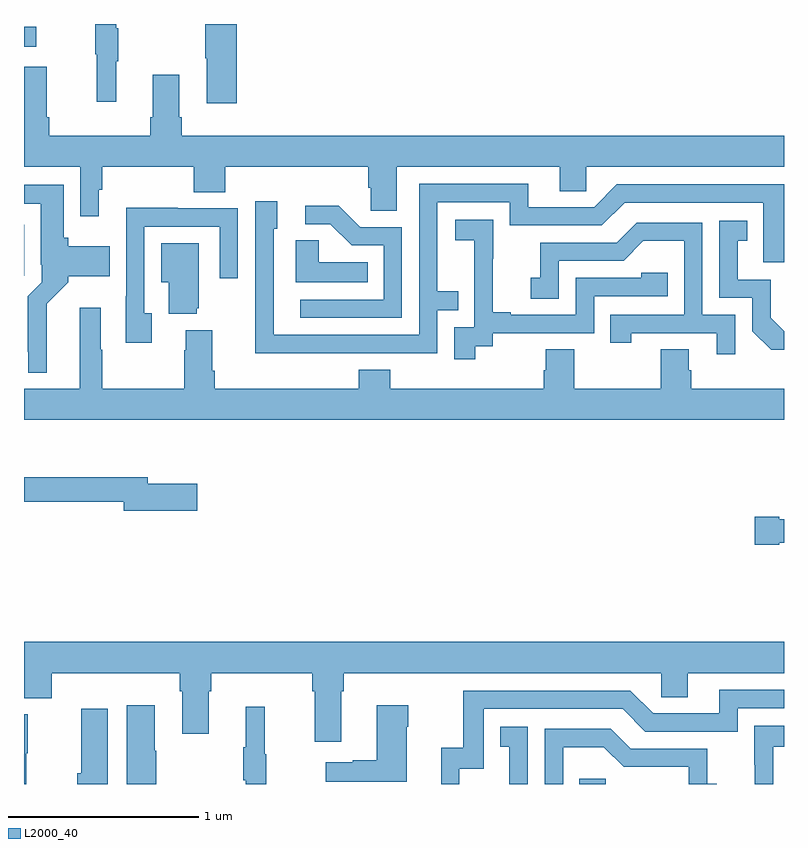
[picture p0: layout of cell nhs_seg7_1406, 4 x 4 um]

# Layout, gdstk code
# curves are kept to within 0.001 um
import gdstk
lib = gdstk.Library(unit=1e-6, precision=1e-09)
def R(c, l, rs):  # rectangles x0, y0, x1, y1
    for r in rs: c.add(gdstk.rectangle(r[:2], r[2:], *l))
def P(c, l, *ps):  # polygons
    for p in ps: c.add(gdstk.Polygon(p, *l))
L2000_40 = (2000, 40)

nhs_seg7_1406 = lib.new_cell('nhs_seg7_1406')
R(nhs_seg7_1406, L2000_40, [(209.923,1032,210.063,1032.027), (207,1034.676,207.001,1034.943), (207,1035.881,207.064,1035.985)])
P(nhs_seg7_1406, L2000_40, [(207.485,1035.803),(207.496,1035.803),(207.496,1035.977),(207.485,1035.977),(207.485,1036),(207.375,1036),(207.375,1035.84),(207.382,1035.84),(207.382,1035.591),(207.485,1035.591)],
  [(208.121,1036),(207.955,1036),(207.955,1035.82),(207.962,1035.82),(207.962,1035.582),(208.121,1035.582)],
  [(207.394,1035.127),(207.413,1035.127),(207.413,1035.248),(207.893,1035.248),(207.893,1035.115),(208.058,1035.115),(208.058,1035.248),(208.811,1035.248),(208.811,1035.139),(208.824,1035.139),(208.824,1035.016),(208.963,1035.016),(208.963,1035.248),(209.819,1035.248),(209.819,1035.121),(209.958,1035.121),(209.958,1035.248),(211,1035.248),(211,1035.412),(207.83,1035.412),(207.83,1035.508),(207.817,1035.508),(207.817,1035.733),(207.677,1035.733),(207.677,1035.508),(207.665,1035.508),(207.665,1035.412),(207.134,1035.412),(207.134,1035.508),(207.121,1035.508),(207.121,1035.775),(207,1035.775),(207,1035.248),(207.297,1035.248),(207.297,1034.988),(207.394,1034.988)],
  [(208.679,1034.268),(209.175,1034.268),(209.175,1034.493),(209.285,1034.493),(209.285,1034.594),(209.175,1034.594),(209.175,1035.063),(209.556,1035.063),(209.556,1034.94),(210.042,1034.94),(210.162,1035.06),(210.891,1035.06),(210.891,1034.745),(211,1034.745),(211,1035.156),(210.12,1035.156),(210,1035.036),(209.653,1035.036),(209.653,1035.159),(209.079,1035.159),(209.079,1034.364),(208.314,1034.364),(208.314,1034.922),(208.333,1034.922),(208.333,1035.067),(208.218,1035.067),(208.218,1034.573),(208.216,1034.573),(208.216,1034.267)],
  [(207.121,1034.528),(207.234,1034.641),(207.234,1034.672),(207.451,1034.672),(207.451,1034.83),(207.234,1034.83),(207.234,1034.874),(207.208,1034.874),(207.208,1035.154),(207,1035.154),(207,1035.053),(207.089,1035.053),(207.089,1034.734),(207.093,1034.734),(207.093,1034.64),(207.019,1034.566),(207.019,1034.275),(207.023,1034.275),(207.023,1034.165),(207.121,1034.165)],
  [(208.989,1034.931),(208.77,1034.931),(208.657,1035.044),(208.479,1035.044),(208.479,1034.946),(208.613,1034.946),(208.724,1034.835),(208.893,1034.835),(208.893,1034.55),(208.455,1034.55),(208.455,1034.454),(208.989,1034.454)],
  [(207.673,1034.478),(207.633,1034.478),(207.633,1034.934),(208.029,1034.934),(208.029,1034.661),(208.125,1034.661),(208.125,1035.03),(207.809,1035.03),(207.809,1035.032),(207.537,1035.032),(207.537,1034.566),(207.536,1034.566),(207.536,1034.322),(207.673,1034.322)],
  [(209.374,1034.305),(209.466,1034.305),(209.466,1034.373),(210,1034.373),(210,1034.568),(210.389,1034.568),(210.389,1034.691),(210.249,1034.691),(210.249,1034.664),(209.904,1034.664),(209.904,1034.469),(209.563,1034.469),(209.563,1034.482),(209.468,1034.482),(209.468,1034.765),(209.469,1034.765),(209.469,1034.971),(209.271,1034.971),(209.271,1034.861),(209.369,1034.861),(209.369,1034.632),(209.37,1034.632),(209.37,1034.403),(209.265,1034.403),(209.265,1034.235),(209.374,1034.235)],
  [(211,1034.384),(210.93,1034.454),(210.93,1034.655),(210.757,1034.655),(210.757,1034.859),(210.806,1034.859),(210.806,1034.965),(210.66,1034.965),(210.66,1034.559),(210.834,1034.559),(210.834,1034.382),(210.932,1034.285),(211,1034.285)],
  [(210.744,1034.469),(210.57,1034.469),(210.57,1034.955),(210.224,1034.955),(210.119,1034.85),(209.716,1034.85),(209.716,1034.665),(209.667,1034.665),(209.667,1034.555),(209.814,1034.555),(209.814,1034.754),(210.156,1034.754),(210.26,1034.858),(210.474,1034.858),(210.474,1034.469),(210.085,1034.469),(210.085,1034.322),(210.196,1034.322),(210.196,1034.373),(210.647,1034.373),(210.647,1034.262),(210.744,1034.262)],
  [(208.808,1034.746),(208.551,1034.746),(208.551,1034.861),(208.43,1034.861),(208.43,1034.642),(208.808,1034.642)],
  [(207.908,1034.505),(207.919,1034.505),(207.919,1034.845),(207.722,1034.845),(207.722,1034.642),(207.761,1034.642),(207.761,1034.474),(207.908,1034.474)],
  [(211,1034.08),(210.512,1034.08),(210.512,1034.178),(210.499,1034.178),(210.499,1034.288),(210.352,1034.288),(210.352,1034.08),(209.895,1034.08),(209.895,1034.288),(209.747,1034.288),(209.747,1034.178),(209.735,1034.178),(209.735,1034.08),(208.928,1034.08),(208.928,1034.179),(208.763,1034.179),(208.763,1034.08),(208.004,1034.08),(208.004,1034.176),(207.991,1034.176),(207.991,1034.389),(207.851,1034.389),(207.851,1034.282),(207.844,1034.282),(207.844,1034.08),(207.411,1034.08),(207.411,1034.285),(207.403,1034.285),(207.403,1034.506),(207.293,1034.506),(207.293,1034.08),(207,1034.08),(207,1033.916),(211,1033.916)],
  [(207.913,1033.581),(207.652,1033.581),(207.652,1033.615),(207,1033.615),(207,1033.486),(207.524,1033.486),(207.524,1033.439),(207.913,1033.439)],
  [(210.975,1033.271),(211,1033.271),(211,1033.393),(210.975,1033.393),(210.975,1033.406),(210.846,1033.406),(210.846,1033.259),(210.975,1033.259)],
  [(207,1032.451),(207.146,1032.451),(207.146,1032.584),(207.821,1032.584),(207.821,1032.488),(207.833,1032.488),(207.833,1032.264),(207.973,1032.264),(207.973,1032.488),(207.986,1032.488),(207.986,1032.584),(208.517,1032.584),(208.517,1032.488),(208.529,1032.488),(208.529,1032.222),(208.669,1032.222),(208.669,1032.488),(208.682,1032.488),(208.682,1032.584),(210.354,1032.584),(210.354,1032.457),(210.493,1032.457),(210.493,1032.584),(211,1032.584),(211,1032.748),(207,1032.748)],
  [(209.292,1032.081),(209.421,1032.081),(209.421,1032.396),(210.15,1032.396),(210.27,1032.276),(210.756,1032.276),(210.756,1032.399),(211,1032.399),(211,1032.495),(210.659,1032.495),(210.659,1032.372),(210.312,1032.372),(210.192,1032.492),(209.313,1032.492),(209.313,1032.19),(209.195,1032.19),(209.195,1032),(209.292,1032)],
  [(209.014,1032.302),(209.022,1032.302),(209.022,1032.415),(208.856,1032.415),(208.856,1032.125),(208.73,1032.125),(208.73,1032.115),(208.587,1032.115),(208.587,1032.011),(209.014,1032.011)],
  [(207.696,1032.176),(207.688,1032.176),(207.688,1032.415),(207.542,1032.415),(207.542,1032),(207.696,1032)],
  [(208.276,1032.156),(208.268,1032.156),(208.268,1032.406),(208.166,1032.406),(208.166,1032.193),(208.155,1032.193),(208.155,1032.019),(208.166,1032.019),(208.166,1032),(208.276,1032)],
  [(207.442,1032.397),(207.301,1032.397),(207.301,1032.057),(207.281,1032.057),(207.281,1032),(207.442,1032)],
  [(207.011,1032.163),(207.019,1032.163),(207.019,1032.366),(207,1032.366),(207,1032),(207.011,1032)],
  [(210.944,1032.197),(211,1032.197),(211,1032.307),(210.844,1032.307),(210.844,1032.101),(210.845,1032.101),(210.845,1032),(210.944,1032)],
  [(209.652,1032.301),(209.506,1032.301),(209.506,1032.195),(209.555,1032.195),(209.555,1032),(209.652,1032)],
  [(209.838,1032.194),(210.052,1032.194),(210.156,1032.09),(210.498,1032.09),(210.498,1032),(210.646,1032),(210.597,1032.001),(210.597,1032.186),(210.193,1032.186),(210.088,1032.291),(209.742,1032.291),(209.742,1032),(209.838,1032)])

lib.write_gds('nhs_seg7_1406.gds')
